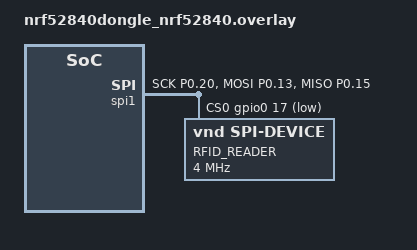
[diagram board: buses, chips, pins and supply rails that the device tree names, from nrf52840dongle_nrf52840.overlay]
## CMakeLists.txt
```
cmake_minimum_required(VERSION 3.20.0)

find_package(Zephyr REQUIRED HINTS $ENV{ZEPHYR_BASE})
project(blinky)

target_sources(app PRIVATE 
    src/main.c
    src/MFRC522.c
)
```

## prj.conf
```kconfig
CONFIG_GPIO=y
CONFIG_SPI=y
CONFIG_LOG=y

# Enable Bluetooth
CONFIG_BT=y
CONFIG_BT_PERIPHERAL=y
CONFIG_BT_DEVICE_NAME="RFID_Reader"
CONFIG_BT_DEVICE_NAME_DYNAMIC=y
```

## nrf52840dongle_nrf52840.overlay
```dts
&pinctrl {
    
    spi1_default: spi1_default {
        group1 {
            
            psels = <NRF_PSEL(SPIM_SCK, 0, 20)>,
                    <NRF_PSEL(SPIM_MOSI, 0, 13)>,
                    <NRF_PSEL(SPIM_MISO, 0, 15)>;
        };
    };

    spi1_sleep: spi1_sleep {
        group1 {
            psels = <NRF_PSEL(SPIM_SCK, 0, 20)>,
                    <NRF_PSEL(SPIM_MOSI, 0, 13)>,
                    <NRF_PSEL(SPIM_MISO, 0, 15)>;
            low-power-enable;
        };
    };
};

&spi1 {
    compatible = "nordic,nrf-spim";
    status = "okay";
    

    pinctrl-0 = <&spi1_default>;
    pinctrl-1 = <&spi1_sleep>;
    pinctrl-names = "default", "sleep";

  
    cs-gpios = <&gpio0 17 GPIO_ACTIVE_LOW>;

    
    rfid_reader: mfrc522@0 {
        compatible = "vnd,spi-device";
        reg = <0>; 
        spi-max-frequency = <4000000>;
        label = "RFID_READER";
    };
};
```

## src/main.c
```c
#include <zephyr/kernel.h>
#include <zephyr/drivers/gpio.h>
#include <zephyr/sys/printk.h>
#include <string.h>
#include <zephyr/bluetooth/bluetooth.h>
#include <zephyr/bluetooth/hci.h>
#include <zephyr/drivers/watchdog.h>

#include "MFRC522.h"

#define LED0_NODE DT_ALIAS(led0)
#define MIN_JOB_TIME_MS 5000

/* --- Recovery Settings --- */
#define MAX_READ_FAILURES 300  /

static const struct gpio_dt_spec led = GPIO_DT_SPEC_GET(LED0_NODE, gpios);

/* --- Watchdog Variables --- */
const struct device *wdt = DEVICE_DT_GET(DT_NODELABEL(wdt0));
int wdt_channel_id;

/* Bluetooth Data Structures */
#define COMPANY_ID_CODE 0xFFFF 
uint8_t ID[5];
uint8_t lastID[5];
bool card_present = false;

static uint8_t mfg_data[7] = { 0xFF, 0xFF, 0x00, 0x00, 0x00, 0x00, 0x00 };

static const struct bt_data ad[] = {
    BT_DATA_BYTES(BT_DATA_FLAGS, (BT_LE_AD_GENERAL | BT_LE_AD_NO_BREDR)),
    BT_DATA(BT_DATA_NAME_COMPLETE, CONFIG_BT_DEVICE_NAME, 11),
    BT_DATA(BT_DATA_MANUFACTURER_DATA, mfg_data, 7)
};

static const struct bt_le_adv_param *adv_param = BT_LE_ADV_PARAM(
    BT_LE_ADV_OPT_USE_IDENTITY | BT_LE_ADV_OPT_SCANNABLE, 
    BT_GAP_ADV_FAST_INT_MIN_2, 
    BT_GAP_ADV_FAST_INT_MAX_2, 
    NULL
);

void update_advertising(bool present, uint8_t *uid)
{
    int err;
    mfg_data[2] = present ? 0x01 : 0x00; 

    if (present && uid) {
        memcpy(&mfg_data[3], uid, 4);
    } else {
        memset(&mfg_data[3], 0, 4);
    }

    err = bt_le_adv_update_data(ad, ARRAY_SIZE(ad), NULL, 0);
}

void bt_ready(int err)
{
    if (err) {
        printk("Bluetooth init failed (err %d)\n", err);
        return;
    }
    bt_le_adv_start(adv_param, ad, ARRAY_SIZE(ad), NULL, 0);
    printk("Advertising started\n");
}

/* ---  Watchdog Setup Function --- */
void watchdog_init(void) {
    if (!device_is_ready(wdt)) {
        printk("Watchdog not ready!\n");
        return;
    }

    struct wdt_timeout_cfg wdt_config = {
        /* Reboot if stuck for 5 seconds */
        .window.max = 5000,
        .callback = NULL, 
        .flags = WDT_FLAG_RESET_SOC
    };

    wdt_channel_id = wdt_install_timeout(wdt, &wdt_config);
    wdt_setup(wdt, WDT_OPT_PAUSE_HALTED_BY_DBG);
}

int main(void)
{
    int ret;

    printk("Starting RFID Reader on nRF52840 Dongle...\n");

    if (!gpio_is_ready_dt(&led)) return 0;
    gpio_pin_configure_dt(&led, GPIO_OUTPUT_INACTIVE);

    /* Init Hardware */
    if (MFRC522_Init() != 0) {
        printk("MFRC522 Init Failed!\n");
        return 0;
    }

    /* Init Bluetooth */
    ret = bt_enable(bt_ready);
    if (ret) {
        printk("Bluetooth init failed\n");
    }
    
    /* --- Init Watchdog --- */
    watchdog_init();

    memset(lastID, 0, 5);

    bool led_state = false;       
    bool tag_is_present = false;  
    int missing_tag_count = 0;
    int64_t last_toggle_time = 0; 
    
   
    int failure_count = 0;

    while (1) {
        
        wdt_feed(wdt, wdt_channel_id);

        if (MFRC522_Check(ID) == MI_OK) {
            
            missing_tag_count = 0;
            failure_count = 0; 

            if (!tag_is_present) {
                
                int64_t now = k_uptime_get();
                bool allow_toggle = true;

                if (led_state == true) {
                    if ((now - last_toggle_time) < MIN_JOB_TIME_MS) {
                        printk("Ignored: Job too short!\n");
                        allow_toggle = false; 
                        
                        
                        gpio_pin_set_dt(&led, 0); k_msleep(100);
                        gpio_pin_set_dt(&led, 1); k_msleep(100);
                        gpio_pin_set_dt(&led, 0); k_msleep(100);
                        gpio_pin_set_dt(&led, 1); 
                    }
                }

                if (allow_toggle) {
                    led_state = !led_state;
                    gpio_pin_set_dt(&led, led_state ? 1 : 0);
                    
                    last_toggle_time = now;

                    printk("Scan Accepted. Job: %s\n", led_state ? "STARTED" : "FINISHED");
                    update_advertising(true, ID);
                }
                
                tag_is_present = true;
            }
            MFRC522_Halt();
        } 
        else {
            
            failure_count++;
            if (failure_count > MAX_READ_FAILURES) {
                MFRC522_Init(); 
                failure_count = 0;
            }
           

            if (tag_is_present) {
                missing_tag_count++;
                if (missing_tag_count > 5) {
                    tag_is_present = false;
                    update_advertising(false, NULL);
                    printk("Tag removed.\n");
                }
            }
        }
        k_msleep(100);
    }
}
```

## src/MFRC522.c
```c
#include <zephyr/drivers/spi.h>
#include <zephyr/sys/printk.h>
#include "MFRC522.h"

/* Get the SPI device from the Device Tree Overlay */
#define SPI_OP  SPI_OP_MODE_MASTER | SPI_WORD_SET(8) | SPI_TRANSFER_MSB
static const struct spi_dt_spec dev_spi = SPI_DT_SPEC_GET(DT_NODELABEL(rfid_reader), SPI_OP, 0);


void Write_MFRC522(uint8_t addr, uint8_t val) {
    uint8_t tx_data[2] = { (addr << 1) & 0x7E, val };
    struct spi_buf tx_buf = {.buf = tx_data, .len = 2};
    struct spi_buf_set tx = {.buffers = &tx_buf, .count = 1};
    spi_write_dt(&dev_spi, &tx);
}

uint8_t Read_MFRC522(uint8_t addr) {
    uint8_t tx_data[2] = { ((addr << 1) & 0x7E) | 0x80, 0x00 };
    uint8_t rx_data[2];
    struct spi_buf tx_buf = {.buf = tx_data, .len = 2};
    struct spi_buf_set tx = {.buffers = &tx_buf, .count = 1};
    struct spi_buf rx_buf = {.buf = rx_data, .len = 2};
    struct spi_buf_set rx = {.buffers = &rx_buf, .count = 1};
    spi_transceive_dt(&dev_spi, &tx, &rx);
    return rx_data[1];
}

void MFRC522_SetBitMask(uint8_t reg, uint8_t mask) {
    Write_MFRC522(reg, Read_MFRC522(reg) | mask);
}

void MFRC522_ClearBitMask(uint8_t reg, uint8_t mask) {
    Write_MFRC522(reg, Read_MFRC522(reg) & (~mask));
}

/* --- Core Functions --- */

int MFRC522_Init(void) {
    if (!spi_is_ready_dt(&dev_spi)) {
        printk("SPI Device not ready\n");
        return -1;
    }

    /* Soft Reset */
    Write_MFRC522(MFRC522_REG_COMMAND, PCD_RESETPHASE);
    k_msleep(50);

    /* Timer Init */
    Write_MFRC522(MFRC522_REG_T_MODE, 0x8D);
    Write_MFRC522(MFRC522_REG_T_PRESCALER, 0x3E);
    Write_MFRC522(MFRC522_REG_T_RELOAD_L, 30);
    Write_MFRC522(MFRC522_REG_T_RELOAD_H, 0);
    Write_MFRC522(MFRC522_REG_TX_AUTO, 0x40);
    Write_MFRC522(MFRC522_REG_MODE, 0x3D);

    /* Antenna On */
    uint8_t temp = Read_MFRC522(MFRC522_REG_TX_CONTROL);
    if (!(temp & 0x03)) {
        MFRC522_SetBitMask(MFRC522_REG_TX_CONTROL, 0x03);
    }
    
    printk("MFRC522 Init Done\n");
    return 0;
}

TM_MFRC522_STS_T MFRC522_ToCard(uint8_t command, uint8_t *sendData, uint8_t sendLen, uint8_t *backData, uint16_t *backLen) {
    TM_MFRC522_STS_T status = MI_ERR;
    uint8_t irqEn = 0x00;
    uint8_t waitIRq = 0x00;
    uint8_t n;
    uint16_t i;

    if (command == PCD_AUTHENT) { irqEn = 0x12; waitIRq = 0x10; }
    if (command == PCD_TRANSCEIVE) { irqEn = 0x77; waitIRq = 0x30; }

    Write_MFRC522(MFRC522_REG_COMM_IE_N, irqEn | 0x80);
    MFRC522_ClearBitMask(MFRC522_REG_COMM_IRQ, 0x80);
    MFRC522_SetBitMask(MFRC522_REG_FIFO_LEVEL, 0x80);
    Write_MFRC522(MFRC522_REG_COMMAND, PCD_IDLE);

    for (i = 0; i < sendLen; i++) Write_MFRC522(MFRC522_REG_FIFO_DATA, sendData[i]);

    Write_MFRC522(MFRC522_REG_COMMAND, command);
    if (command == PCD_TRANSCEIVE) MFRC522_SetBitMask(MFRC522_REG_BIT_FRAMING, 0x80);

    i = 2000;
    do {
        n = Read_MFRC522(MFRC522_REG_COMM_IRQ);
        i--;
        k_busy_wait(10);
    } while ((i != 0) && !(n & 0x01) && !(n & waitIRq));

    MFRC522_ClearBitMask(MFRC522_REG_BIT_FRAMING, 0x80);

    if (i != 0) {
        if (!(Read_MFRC522(MFRC522_REG_ERROR) & 0x1B)) {
            status = MI_OK;
            if (n & irqEn & 0x01) status = MI_NOTAGERR;
            if (command == PCD_TRANSCEIVE) {
                n = Read_MFRC522(MFRC522_REG_FIFO_LEVEL);
                uint8_t lastBits = Read_MFRC522(MFRC522_REG_CONTROL) & 0x07;
                if (lastBits) *backLen = (n - 1) * 8 + lastBits;
                else *backLen = n * 8;
                if (n == 0) n = 1;
                if (n > 16) n = 16;
                for (i = 0; i < n; i++) backData[i] = Read_MFRC522(MFRC522_REG_FIFO_DATA);
            }
        } else { status = MI_ERR; }
    }
    return status;
}

TM_MFRC522_STS_T MFRC522_Check(uint8_t *id) {
    TM_MFRC522_STS_T status;
    uint8_t buffer[2];
    uint16_t len;
    
    // 1. Request
    Write_MFRC522(MFRC522_REG_BIT_FRAMING, 0x07);
    buffer[0] = PICC_REQA;
    status = MFRC522_ToCard(PCD_TRANSCEIVE, buffer, 1, buffer, &len);
    if (status != MI_OK || len != 0x10) return MI_ERR;

    // 2. Anticollision
    Write_MFRC522(MFRC522_REG_BIT_FRAMING, 0x00);
    id[0] = PICC_ANTICOLL;
    id[1] = 0x20;
    status = MFRC522_ToCard(PCD_TRANSCEIVE, id, 2, id, &len);
    
    if (status == MI_OK) {
        uint8_t serNumCheck = 0;
        for (int i = 0; i < 4; i++) serNumCheck ^= id[i];
        if (serNumCheck != id[4]) status = MI_ERR;
    }
    return status;
}

void MFRC522_Halt(void) {
    uint16_t unLen;
    uint8_t buff[4] = {PICC_HALT, 0};
    // Simple Halt without CRC calculation for brevity
    MFRC522_ToCard(PCD_TRANSCEIVE, buff, 2, buff, &unLen);
}
```

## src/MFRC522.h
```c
#ifndef MFRC522_H
#define MFRC522_H

#include <zephyr/kernel.h>

/* Status Enumerations */
typedef enum {
    MI_OK = 0,
    MI_NOTAGERR,
    MI_ERR
} TM_MFRC522_STS_T;

/* MFRC522 Registers */
#define PCD_IDLE              0x00
#define PCD_AUTHENT           0x0E
#define PCD_RECEIVE           0x08
#define PCD_TRANSMIT          0x04
#define PCD_TRANSCEIVE        0x0C
#define PCD_RESETPHASE        0x0F
#define PCD_CALCCRC           0x03

#define PICC_REQA             0x26
#define PICC_ANTICOLL         0x93
#define PICC_HALT             0x50

#define MFRC522_REG_COMMAND       0x01
#define MFRC522_REG_COMM_IE_N     0x02
#define MFRC522_REG_COMM_IRQ      0x04
#define MFRC522_REG_DIV_IRQ       0x05
#define MFRC522_REG_ERROR         0x06
#define MFRC522_REG_FIFO_DATA     0x09
#define MFRC522_REG_FIFO_LEVEL    0x0A
#define MFRC522_REG_CONTROL       0x0C
#define MFRC522_REG_BIT_FRAMING   0x0D

#define MFRC522_REG_MODE          0x11
#define MFRC522_REG_TX_MODE       0x12
#define MFRC522_REG_RX_MODE       0x13
#define MFRC522_REG_TX_CONTROL    0x14
#define MFRC522_REG_TX_AUTO       0x15

#define MFRC522_REG_CRC_RESULT_M  0x21
#define MFRC522_REG_CRC_RESULT_L  0x22
#define MFRC522_REG_T_MODE        0x2A
#define MFRC522_REG_T_PRESCALER   0x2B
#define MFRC522_REG_T_RELOAD_H    0x2C
#define MFRC522_REG_T_RELOAD_L    0x2D

/* Public Functions */
int MFRC522_Init(void);
TM_MFRC522_STS_T MFRC522_Check(uint8_t *id);
void MFRC522_Halt(void);

#endif
```
